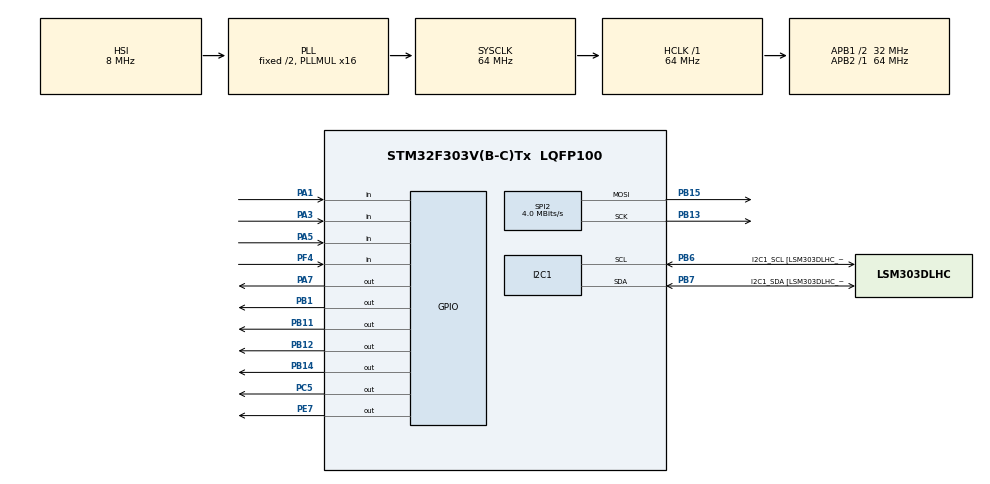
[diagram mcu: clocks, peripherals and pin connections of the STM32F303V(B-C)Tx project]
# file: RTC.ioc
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Mcu.Family=STM32F3
Mcu.Name=STM32F303V(B-C)Tx
Mcu.Package=LQFP100
NVIC.PriorityGroup=NVIC_PRIORITYGROUP_0
PA1.Signal=GPIO_Input
PA3.Signal=GPIO_Input
PA5.Signal=GPIO_Input
PA7.Signal=GPIO_Output
PB1.Signal=GPIO_Output
PB11.Signal=GPIO_Output
PB12.Signal=GPIO_Output
PB13.Mode=TX_Only_Simplex_Unidirect_Master
PB13.Signal=SPI2_SCK
PB14.Signal=GPIO_Output
PB15.Mode=TX_Only_Simplex_Unidirect_Master
PB15.Signal=SPI2_MOSI
PB6.GPIO_FM6=__NULL
PB6.GPIO_Label=I2C1_SCL [LSM303DLHC_SCL]
PB6.GPIO_Mode=GPIO_MODE_AF_OD
PB6.GPIO_PuPd=GPIO_NOPULL
PB6.GPIO_Speed=GPIO_SPEED_FREQ_LOW
PB6.Mode=I2C
PB6.Signal=I2C1_SCL
PB7.GPIO_FM7=__NULL
PB7.GPIO_Label=I2C1_SDA [LSM303DLHC_SDA]
PB7.GPIO_Mode=GPIO_MODE_AF_OD
PB7.GPIO_PuPd=GPIO_NOPULL
PB7.GPIO_Speed=GPIO_SPEED_FREQ_LOW
PB7.Mode=I2C
PB7.Signal=I2C1_SDA
PC5.Signal=GPIO_Output
PE7.Signal=GPIO_Output
PF4.Signal=GPIO_Input
ProjectManager.HeapSize=0x200
ProjectManager.StackSize=0x400
ProjectManager.TargetToolchain=SW4STM32
RCC.AHBFreq_Value=64000000
RCC.APB1CLKDivider=RCC_HCLK_DIV2
RCC.APB1Freq_Value=32000000
RCC.APB1TimFreq_Value=64000000
RCC.APB2Freq_Value=64000000
RCC.APB2TimFreq_Value=64000000
RCC.CortexFreq_Value=64000000
RCC.HCLKFreq_Value=64000000
RCC.HSE_VALUE=8000000
RCC.HSI_VALUE=8000000
RCC.LSE_VALUE=32768
RCC.PLLMUL=RCC_PLL_MUL16
RCC.SYSCLKFreq_VALUE=64000000
RCC.SYSCLKSourceVirtual=RCC_SYSCLKSOURCE_PLLCLK
RCC.USBFreq_Value=64000000
SPI2.BaudRatePrescaler=SPI_BAUDRATEPRESCALER_8
SPI2.CalculateBaudRate=4.0 MBits/s
SPI2.DataSize=SPI_DATASIZE_8BIT
SPI2.Direction=SPI_DIRECTION_2LINES
SPI2.Mode=SPI_MODE_MASTER
SPI2.VirtualType=VM_MASTER
board=STM32F3DISCOVERY

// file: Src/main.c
/**
  ******************************************************************************
  * File Name          : main.c
  * Description        : Main program body
  ******************************************************************************
  ** This notice applies to any and all portions of this file
  * that are not between comment pairs USER CODE BEGIN and
  * USER CODE END. Other portions of this file, whether
  * inserted by the user or by software development tools
  * are owned by their respective copyright owners.
  *
  * COPYRIGHT(c) 2018 STMicroelectronics
  *
  * Redistribution and use in source and binary forms, with or without modification,
  * are permitted provided that the following conditions are met:
  *   1. Redistributions of source code must retain the above copyright notice,
  *      this list of conditions and the following disclaimer.
  *   2. Redistributions in binary form must reproduce the above copyright notice,
  *      this list of conditions and the following disclaimer in the documentation
  *      and/or other materials provided with the distribution.
  *   3. Neither the name of STMicroelectronics nor the names of its contributors
  *      may be used to endorse or promote products derived from this software
  *      without specific prior written permission.
  *
  * THIS SOFTWARE IS PROVIDED BY THE COPYRIGHT HOLDERS AND CONTRIBUTORS "AS IS"
  * AND ANY EXPRESS OR IMPLIED WARRANTIES, INCLUDING, BUT NOT LIMITED TO, THE
  * IMPLIED WARRANTIES OF MERCHANTABILITY AND FITNESS FOR A PARTICULAR PURPOSE ARE
  * DISCLAIMED. IN NO EVENT SHALL THE COPYRIGHT HOLDER OR CONTRIBUTORS BE LIABLE
  * FOR ANY DIRECT, INDIRECT, INCIDENTAL, SPECIAL, EXEMPLARY, OR CONSEQUENTIAL
  * DAMAGES (INCLUDING, BUT NOT LIMITED TO, PROCUREMENT OF SUBSTITUTE GOODS OR
  * SERVICES; LOSS OF USE, DATA, OR PROFITS; OR BUSINESS INTERRUPTION) HOWEVER
  * CAUSED AND ON ANY THEORY OF LIABILITY, WHETHER IN CONTRACT, STRICT LIABILITY,
  * OR TORT (INCLUDING NEGLIGENCE OR OTHERWISE) ARISING IN ANY WAY OUT OF THE USE
  * OF THIS SOFTWARE, EVEN IF ADVISED OF THE POSSIBILITY OF SUCH DAMAGE.
  *
  ******************************************************************************
  */
#include "main.h"
#include "stm32f3xx_hal.h"
#include "i2c.h"
#include "spi.h"
#include "gpio.h"

/* USER CODE BEGIN Includes */

#include "lcd5110.h"

#define RTC_ADDRESS                 0x68*2
#define NUMBER_OF_DAYS_IN_WEEK      7

#define LCD_CS_Pin                  GPIO_PIN_14
#define LCD_CS_GPIO_Port            GPIOB
#define LCD_RST_Pin                 GPIO_PIN_11
#define LCD_RST_GPIO_Port           GPIOB
#define LCD_DC_Pin                  GPIO_PIN_12
#define LCD_DC_GPIO_Port            GPIOB

#define KEYPAD_PIN_COL0             GPIO_PIN_7
#define KEYPAD_PIN_COL1             GPIO_PIN_5
#define KEYPAD_PIN_COL2             GPIO_PIN_1
#define KEYPAD_PIN_COL3             GPIO_PIN_7
#define KEYPAD_GPIO_COL0            GPIOA
#define KEYPAD_GPIO_COL1            GPIOC
#define KEYPAD_GPIO_COL2            GPIOB
#define KEYPAD_GPIO_COL3            GPIOE

#define KEYPAD_PIN_ROW0             GPIO_PIN_1
#define KEYPAD_PIN_ROW1             GPIO_PIN_3
#define KEYPAD_PIN_ROW2             GPIO_PIN_4
#define KEYPAD_PIN_ROW3             GPIO_PIN_5
#define KEYPAD_GPIO_ROW0            GPIOA
#define KEYPAD_GPIO_ROW1            GPIOA
#define KEYPAD_GPIO_ROW2            GPIOF
#define KEYPAD_GPIO_ROW3            GPIOA

//extern void initialise_monitor_handles(void);

/* USER CODE END Includes */

/* USER CODE BEGIN PV */
/* Private variables ---------------------------------------------------------*/

/* USER CODE END PV */

void SystemClock_Config(void);

/* USER CODE BEGIN PFP */
/* Private function prototypes -----------------------------------------------*/

/* USER CODE END PFP */

/* USER CODE BEGIN 0 */

typedef struct {
    uint8_t seconds; // Seconds parameter, from 00 to 59
    uint8_t minutes; // Minutes parameter, from 00 to 59
    uint8_t hours;   // Hours parameter, 24Hour mode, 00 to 23
    uint8_t weekday; // Day in a week, from 1 to 7
    uint8_t date;    // Date in a month, 1 to 31
    uint8_t month;   // Month in a year, 1 to 12
    uint8_t year;    // Year parameter
} DS3231_Time;

inline int bcd_to_decimal(uint8_t bcd_value) {
    return ((bcd_value & 0xF0) >> 4) * 10 + (bcd_value & 0x0F);
}

inline int decimal_to_bcd(uint8_t decimal) {
    return ((decimal / 10) << 4) + decimal % 10;
}

int RTC_write_data(DS3231_Time* time) {
    uint8_t send_data[7];
    send_data[0] = decimal_to_bcd(time->seconds);
    send_data[1] = decimal_to_bcd(time->minutes);
    send_data[2] = decimal_to_bcd(time->hours);
    send_data[3] = decimal_to_bcd(time->weekday);
    send_data[4] = decimal_to_bcd(time->date);
    send_data[5] = decimal_to_bcd(time->month);
    send_data[6] = decimal_to_bcd(time->year);
    HAL_I2C_Mem_Write(&hi2c1, RTC_ADDRESS, 0, 1, send_data, 7, 500);
    return 0;
}

int RTC_read_data(DS3231_Time* time) {
    uint8_t received_data[7];
    HAL_I2C_Mem_Read(&hi2c1, RTC_ADDRESS, 0, 1, received_data, 7, 500);
    time->seconds = bcd_to_decimal(received_data[0]);
    time->minutes = bcd_to_decimal(received_data[1]);
    time->hours = bcd_to_decimal(received_data[2]);
    time->weekday = bcd_to_decimal(received_data[3]);
    time->date = bcd_to_decimal(received_data[4]);
    time->month = bcd_to_decimal(received_data[5]);
    time->year = bcd_to_decimal(received_data[6]);
    return 0;
}

LCD5110_display lcd1;

const char *weekday_names[NUMBER_OF_DAYS_IN_WEEK] = {"Mon", "Tue", "Wed", "Thu", "Fri", "Sat", "Sun"};

inline char* convert_weekday(int weekday_number){ // weekday in range [1, 7]
    return weekday_names[weekday_number - 1];
}

void LCD5110_display_time(DS3231_Time* time){
    LCD5110_clear_scr(&lcd1.hw_conf);
    LCD5110_set_cursor(0,0, &lcd1.hw_conf);
    LCD5110_printf(&lcd1, BLACK, "   %02d:%02d:%02d\n %s\n %02d.%02d.20%d\n",
            time->hours, time->minutes, time->seconds, convert_weekday(time->weekday), time->date, time->month, time->year);
}

void LCD5110_display_timearray(int* timearray, int current_symbol) {
    char to_display[13];
    for (int i = 0; i < 13; i++) {
        to_display[i] = (i == current_symbol)?'_':timearray[i] + '0';
	}

    LCD5110_clear_scr(&lcd1.hw_conf);
    LCD5110_set_cursor(0,0, &lcd1.hw_conf);
    LCD5110_printf(&lcd1, BLACK, "   %c%c:%c%c:%c%c\n %c\n %c%c.%c%c.20%c%c\n",
            to_display[0], to_display[1], to_display[2], to_display[3], to_display[4], to_display[5],
            to_display[6],
            to_display[7], to_display[8], to_display[9], to_display[10], to_display[11], to_display[12]);
}

GPIO_TypeDef* column_gpios[] = {KEYPAD_GPIO_COL0, KEYPAD_GPIO_COL1, KEYPAD_GPIO_COL2, KEYPAD_GPIO_COL3};
uint16_t column_pins[] = {KEYPAD_PIN_COL0, KEYPAD_PIN_COL1, KEYPAD_PIN_COL2, KEYPAD_PIN_COL3};
GPIO_TypeDef* row_gpios[] = {KEYPAD_GPIO_ROW0, KEYPAD_GPIO_ROW1, KEYPAD_GPIO_ROW2, KEYPAD_GPIO_ROW3};
uint16_t row_pins[] = {KEYPAD_PIN_ROW0, KEYPAD_PIN_ROW1, KEYPAD_PIN_ROW2, KEYPAD_PIN_ROW3};

#define TO_PREVIOUS_SYMBOL               10
#define TO_NEXT_SYMBOL                   11
#define EXIT_MENU                        12
int symbs[4][4] = {{1, 4, 7, TO_PREVIOUS_SYMBOL}, {2, 5, 8, 0}, {3, 6, 9, TO_NEXT_SYMBOL}, {-1, -1, -1, EXIT_MENU}};

int read_button() {
    for (int col_ind = 0; col_ind < 4; col_ind++) {
        HAL_GPIO_WritePin(column_gpios[col_ind], column_pins[col_ind], GPIO_PIN_SET);
        for (int row_ind = 0; row_ind < 4; row_ind++) {
            if (HAL_GPIO_ReadPin(row_gpios[row_ind], row_pins[row_ind])) {
                HAL_GPIO_WritePin(column_gpios[col_ind], column_pins[col_ind], GPIO_PIN_RESET);
                return symbs[col_ind][row_ind];
            }
        }
        HAL_GPIO_WritePin(column_gpios[col_ind], column_pins[col_ind], GPIO_PIN_RESET);
    }
    return -1;
}

int read_user_data(DS3231_Time* time, int allow_exit) {
    //                  h     m     s   day   d     m     y
    int my_time[13] = {0,0,  0,0,  0,0,  0,  0,0,  0,0,  0,0};
    int value;

    LCD5110_display_timearray(&my_time, 0);

    int my_time_ind = 0;
    while (my_time_ind < 13) {
        while (1) {
            value = read_button();
            if (value != -1) {
            	if (value < 10) {
                    my_time[my_time_ind] = value;
                    my_time_ind++;
                }
                else {
                    switch(value) {
                    case TO_PREVIOUS_SYMBOL:
                        if (my_time_ind > 0) my_time_ind--;
                        break;
                    case TO_NEXT_SYMBOL:
                        my_time_ind++;
                        break;
                    case EXIT_MENU:
                        if (allow_exit) return 1;
                        break;
                    }
                }
                LCD5110_display_timearray(&my_time, my_time_ind);
                HAL_Delay(500);
                break;
            }
        }
	}
    time->seconds = my_time[4] * 10 + my_time[5];
    time->minutes = my_time[2] * 10 + my_time[3];
    time->hours = my_time[0] * 10 + my_time[1];
    time->weekday = my_time[6];
    time->date = my_time[7] * 10 + my_time[8];
    time->month = my_time[9] * 10 + my_time[10];
    time->year = my_time[11] * 10 + my_time[12];
    return 0;
}

/* USER CODE END 0 */

int main(void)
{

  /* USER CODE BEGIN 1 */
    //initialise_monitor_handles();

  /* USER CODE END 1 */

  /* MCU Configuration----------------------------------------------------------*/

  /* Reset of all peripherals, Initializes the Flash interface and the Systick. */
  HAL_Init();

  /* Configure the system clock */
  SystemClock_Config();

  /* Initialize all configured peripherals */
  MX_GPIO_Init();
  MX_I2C1_Init();
  MX_SPI2_Init();

  /* USER CODE BEGIN 2 */

    lcd1.hw_conf.spi_handle = &hspi2;
    lcd1.hw_conf.spi_cs_pin = LCD_CS_Pin;
    lcd1.hw_conf.spi_cs_port = LCD_CS_GPIO_Port;
    lcd1.hw_conf.rst_pin =  LCD_RST_Pin;
    lcd1.hw_conf.rst_port = LCD_RST_GPIO_Port;
    lcd1.hw_conf.dc_pin =  LCD_DC_Pin;
    lcd1.hw_conf.dc_port = LCD_DC_GPIO_Port;
    lcd1.def_scr = lcd5110_def_scr;
    LCD5110_init(&lcd1.hw_conf, LCD5110_NORMAL_MODE, 0x40, 2, 3);

    DS3231_Time time;
    read_user_data(&time, 0);
    RTC_write_data(&time);

    HAL_GPIO_WritePin(KEYPAD_GPIO_COL3, KEYPAD_PIN_COL3, GPIO_PIN_SET);

  /* USER CODE END 2 */

  /* Infinite loop */
    while (1){

  /* USER CODE BEGIN 3 */
    	if (HAL_GPIO_ReadPin(KEYPAD_GPIO_ROW3, KEYPAD_PIN_ROW3)) {
            HAL_GPIO_WritePin(KEYPAD_GPIO_COL3, KEYPAD_PIN_COL3, GPIO_PIN_RESET);
            HAL_Delay(500);
            if (!read_user_data(&time, 1)) RTC_write_data(&time);
            HAL_Delay(500);
            HAL_GPIO_WritePin(KEYPAD_GPIO_COL3, KEYPAD_PIN_COL3, GPIO_PIN_SET);
    	}

        RTC_read_data(&time);

        LCD5110_display_time(&time);
        HAL_Delay(33);
    }
  /* USER CODE END 3 */

}

/** System Clock Configuration
*/
void SystemClock_Config(void)
{

  RCC_OscInitTypeDef RCC_OscInitStruct;
  RCC_ClkInitTypeDef RCC_ClkInitStruct;
  RCC_PeriphCLKInitTypeDef PeriphClkInit;

    /**Initializes the CPU, AHB and APB busses clocks
    */
  RCC_OscInitStruct.OscillatorType = RCC_OSCILLATORTYPE_HSI;
  RCC_OscInitStruct.HSIState = RCC_HSI_ON;
  RCC_OscInitStruct.HSICalibrationValue = 16;
  RCC_OscInitStruct.PLL.PLLState = RCC_PLL_ON;
  RCC_OscInitStruct.PLL.PLLSource = RCC_PLLSOURCE_HSI;
  RCC_OscInitStruct.PLL.PLLMUL = RCC_PLL_MUL16;
  if (HAL_RCC_OscConfig(&RCC_OscInitStruct) != HAL_OK)
  {
    _Error_Handler(__FILE__, __LINE__);
  }

    /**Initializes the CPU, AHB and APB busses clocks
    */
  RCC_ClkInitStruct.ClockType = RCC_CLOCKTYPE_HCLK|RCC_CLOCKTYPE_SYSCLK
                              |RCC_CLOCKTYPE_PCLK1|RCC_CLOCKTYPE_PCLK2;
  RCC_ClkInitStruct.SYSCLKSource = RCC_SYSCLKSOURCE_PLLCLK;
  RCC_ClkInitStruct.AHBCLKDivider = RCC_SYSCLK_DIV1;
  RCC_ClkInitStruct.APB1CLKDivider = RCC_HCLK_DIV2;
  RCC_ClkInitStruct.APB2CLKDivider = RCC_HCLK_DIV1;

  if (HAL_RCC_ClockConfig(&RCC_ClkInitStruct, FLASH_LATENCY_2) != HAL_OK)
  {
    _Error_Handler(__FILE__, __LINE__);
  }

  PeriphClkInit.PeriphClockSelection = RCC_PERIPHCLK_I2C1;
  PeriphClkInit.I2c1ClockSelection = RCC_I2C1CLKSOURCE_HSI;
  if (HAL_RCCEx_PeriphCLKConfig(&PeriphClkInit) != HAL_OK)
  {
    _Error_Handler(__FILE__, __LINE__);
  }

    /**Configure the Systick interrupt time
    */
  HAL_SYSTICK_Config(HAL_RCC_GetHCLKFreq()/1000);

    /**Configure the Systick
    */
  HAL_SYSTICK_CLKSourceConfig(SYSTICK_CLKSOURCE_HCLK);

  /* SysTick_IRQn interrupt configuration */
  HAL_NVIC_SetPriority(SysTick_IRQn, 0, 0);
}

void _Error_Handler(char * file, int line)
{
    while(1){}
}

/************************ (C) COPYRIGHT STMicroelectronics *****END OF FILE****/
